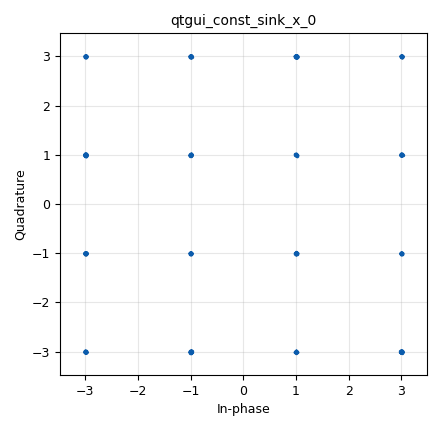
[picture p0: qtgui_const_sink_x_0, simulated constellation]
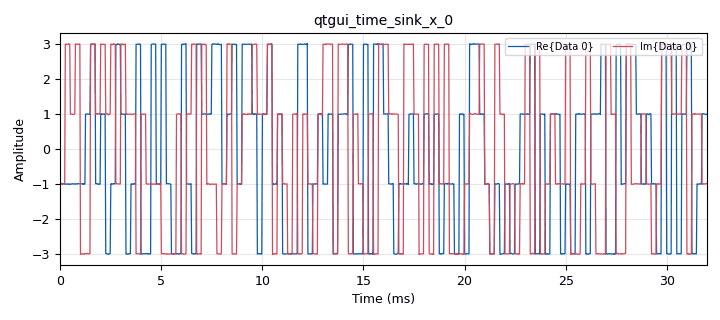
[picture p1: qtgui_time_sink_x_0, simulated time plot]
options:
  parameters:
    author: Hemachandra
    generate_options: qt_gui
    id: adpative_modulation
    output_language: python
  states: {}

blocks:
- name: QAM16
  id: variable
  parameters:
    value: '[-1-1j, +1-1j, 1+1j,-1+1j,1+3j, 3+1j, 3+3j, -1+3j, -3+1j, -3+3j, 3-1j, 1-3j, 3-3j, -3-1j, -1-3j, -3-3j]'
  states: {}
- name: bpsk
  id: variable
  parameters:
    value: '[-1+0j,1+0j]'
  states: {}
- name: bpsk_demod
  id: variable_constellation
  parameters:
    precision: '8'
    type: bpsk
  states: {}
- name: cfo
  id: variable_qtgui_range
  parameters:
    label: Carrier Frequency Offset (Hz)
    start: '0'
    step: '10'
    stop: 100e3
    value: '0.0'
  states: {}
- name: constellation
  id: variable
  parameters:
    value: int(0 if snr <= 10 else (1 if snr <= 20 else 2))
  states: {}
- name: distance
  id: variable_qtgui_range
  parameters:
    label: Distance
    rangeType: int
    start: '1'
    step: '1'
    stop: '50'
    value: '1'
  states: {}
- name: noise
  id: variable
  parameters:
    value: '0.01'
  states: {}
- name: qam_demod
  id: variable_constellation
  parameters:
    precision: '8'
    type: 16qam
  states: {}
- name: qpsk
  id: variable
  parameters:
    value: '[-1-1j, +1-1j, 1+1j,-1+1j]'
  states: {}
- name: qpsk_demod
  id: variable_constellation
  parameters:
    precision: '8'
    type: qpsk
  states: {}
- name: rx_gain
  id: variable
  parameters:
    value: 1/(distance**2)
  states: {}
- name: samp_rate
  id: variable
  parameters:
    value: 32e3
  states: {}
- name: snr
  id: variable
  parameters:
    value: (rx_gain**2 / noise**2)
  states: {}
- name: analog_const_source_x_0
  id: analog_const_source_x
  parameters:
    const: rx_gain
    type: complex
  states: {}
- name: analog_noise_source_x_0
  id: analog_noise_source_x
  parameters:
    amp: noise
    noise_type: analog.GR_GAUSSIAN
    seed: '0'
    type: complex
  states: {}
- name: analog_random_source_x_0
  id: analog_random_source_x
  parameters:
    max: '255'
    min: '0'
    num_samps: '1000'
    repeat: 'True'
    type: byte
  states: {}
- name: blocks_add_xx_0
  id: blocks_add_xx
  parameters:
    type: complex
  states: {}
- name: blocks_complex_to_mag_0
  id: blocks_complex_to_mag
  parameters: {}
  states: {}
- name: blocks_complex_to_mag_0_0
  id: blocks_complex_to_mag
  parameters: {}
  states: {}
- name: blocks_complex_to_mag_0_0_0
  id: blocks_complex_to_mag
  parameters: {}
  states: {}
- name: blocks_keep_one_in_n_0
  id: blocks_keep_one_in_n
  parameters:
    type: complex
  states: {}
- name: blocks_keep_one_in_n_0_0
  id: blocks_keep_one_in_n
  parameters:
    type: complex
  states: {}
- name: blocks_keep_one_in_n_0_0_0
  id: blocks_keep_one_in_n
  parameters:
    type: complex
  states: {}
- name: blocks_keep_one_in_n_0_0_0_0
  id: blocks_keep_one_in_n
  parameters:
    type: complex
  states: {}
- name: blocks_keep_one_in_n_0_1
  id: blocks_keep_one_in_n
  parameters:
    type: complex
  states: {}
- name: blocks_keep_one_in_n_0_1_0
  id: blocks_keep_one_in_n
  parameters:
    type: complex
  states: {}
- name: blocks_moving_average_xx_0
  id: blocks_moving_average_xx
  parameters:
    length: '1000'
    max_iter: '4000'
    scale: 1/1000
    type: float
  states: {}
- name: blocks_moving_average_xx_0_0
  id: blocks_moving_average_xx
  parameters:
    length: '1000'
    max_iter: '4000'
    scale: 1/1000
    type: float
  states: {}
- name: blocks_moving_average_xx_0_0_0
  id: blocks_moving_average_xx
  parameters:
    length: '1000'
    max_iter: '4000'
    scale: 1/1000
    type: float
  states: {}
- name: blocks_multiply_xx_0
  id: blocks_multiply_xx
  parameters:
    type: complex
  states: {}
- name: blocks_packed_to_unpacked_xx_0
  id: blocks_packed_to_unpacked_xx
  parameters:
    bits_per_chunk: '1'
    endianness: gr.GR_MSB_FIRST
    type: byte
  states: {}
- name: blocks_packed_to_unpacked_xx_0_0
  id: blocks_packed_to_unpacked_xx
  parameters:
    bits_per_chunk: '2'
    endianness: gr.GR_MSB_FIRST
    type: byte
  states: {}
- name: blocks_packed_to_unpacked_xx_0_0_0
  id: blocks_packed_to_unpacked_xx
  parameters:
    bits_per_chunk: '4'
    endianness: gr.GR_MSB_FIRST
    type: byte
  states: {}
- name: blocks_repeat_0
  id: blocks_repeat
  parameters:
    interp: '8'
    type: complex
  states: {}
- name: blocks_repeat_0_0
  id: blocks_repeat
  parameters:
    interp: '8'
    type: complex
  states: {}
- name: blocks_repeat_0_1
  id: blocks_repeat
  parameters:
    interp: '8'
    type: complex
  states: {}
- name: blocks_selector_0
  id: blocks_selector
  parameters:
    enabled: 'True'
    input_index: constellation
    num_inputs: '3'
    num_outputs: '1'
    output_index: '0'
    type: complex
  states: {}
- name: blocks_sub_xx_0
  id: blocks_sub_xx
  parameters:
    type: complex
  states: {}
- name: blocks_sub_xx_0_0
  id: blocks_sub_xx
  parameters:
    type: complex
  states: {}
- name: blocks_sub_xx_0_0_0
  id: blocks_sub_xx
  parameters:
    type: complex
  states: {}
- name: blocks_throttle_0
  id: blocks_throttle
  parameters:
    samples_per_second: samp_rate
    type: complex
  states: {}
- name: digital_chunks_to_symbols_xx_0
  id: digital_chunks_to_symbols_xx
  parameters:
    dimension: '1'
    in_type: byte
    out_type: complex
    symbol_table: bpsk
  states: {}
- name: digital_chunks_to_symbols_xx_0_0
  id: digital_chunks_to_symbols_xx
  parameters:
    dimension: '1'
    in_type: byte
    out_type: complex
    symbol_table: qpsk
  states: {}
- name: digital_chunks_to_symbols_xx_0_0_0
  id: digital_chunks_to_symbols_xx
  parameters:
    dimension: '1'
    in_type: byte
    out_type: complex
    symbol_table: QAM16
  states: {}
- name: digital_chunks_to_symbols_xx_1
  id: digital_chunks_to_symbols_xx
  parameters:
    dimension: '1'
    in_type: byte
    out_type: complex
    symbol_table: bpsk
  states: {}
- name: digital_chunks_to_symbols_xx_1_0
  id: digital_chunks_to_symbols_xx
  parameters:
    dimension: '1'
    in_type: byte
    out_type: complex
    symbol_table: qpsk
  states: {}
- name: digital_chunks_to_symbols_xx_1_0_0
  id: digital_chunks_to_symbols_xx
  parameters:
    dimension: '1'
    in_type: byte
    out_type: complex
    symbol_table: QAM16
  states: {}
- name: digital_constellation_decoder_cb_0
  id: digital_constellation_decoder_cb
  parameters:
    constellation: bpsk_demod
  states: {}
- name: digital_constellation_decoder_cb_0_0
  id: digital_constellation_decoder_cb
  parameters:
    constellation: qpsk_demod
  states: {}
- name: digital_constellation_decoder_cb_0_0_0
  id: digital_constellation_decoder_cb
  parameters:
    constellation: qam_demod
  states: {}
- name: import_0
  id: import
  parameters:
    imports: import math
  states: {}
- name: qtgui_const_sink_x_0
  id: qtgui_const_sink_x
  parameters:
    autoscale: 'True'
    grid: 'True'
    size: '1024'
    type: complex
  states: {}
- name: qtgui_number_sink_0
  id: qtgui_number_sink
  parameters:
    autoscale: 'True'
    graph_type: qtgui.NUM_GRAPH_HORIZ
    name: '"bpsk"'
    type: float
  states: {}
- name: qtgui_number_sink_0_0
  id: qtgui_number_sink
  parameters:
    autoscale: 'True'
    graph_type: qtgui.NUM_GRAPH_HORIZ
    name: '"qpsk"'
    type: float
  states: {}
- name: qtgui_number_sink_0_0_0
  id: qtgui_number_sink
  parameters:
    autoscale: 'True'
    graph_type: qtgui.NUM_GRAPH_HORIZ
    name: '"QAM16"'
    type: float
  states: {}
- name: qtgui_time_sink_x_0
  id: qtgui_time_sink_x
  parameters:
    autoscale: 'True'
    size: '1024'
    srate: samp_rate
    type: complex
  states: {}
- name: virtual_sink_0
  id: virtual_sink
  parameters:
    stream_id: selector op
  states: {}
- name: virtual_source_0
  id: virtual_source
  parameters:
    stream_id: selector op
  states: {}
- name: virtual_source_0_0
  id: virtual_source
  parameters:
    stream_id: selector op
  states: {}
- name: virtual_source_0_1
  id: virtual_source
  parameters:
    stream_id: selector op
  states: {}
- name: virtual_source_0_2
  id: virtual_source
  parameters:
    stream_id: selector op
  states: {}
- name: virtual_source_0_3
  id: virtual_source
  parameters:
    stream_id: selector op
  states: {}
- name: virtual_source_0_4
  id: virtual_source
  parameters:
    stream_id: selector op
  states: {}

connections:
- [analog_const_source_x_0, '0', blocks_multiply_xx_0, '1']
- [analog_noise_source_x_0, '0', blocks_add_xx_0, '1']
- [analog_random_source_x_0, '0', blocks_packed_to_unpacked_xx_0, '0']
- [analog_random_source_x_0, '0', blocks_packed_to_unpacked_xx_0_0, '0']
- [analog_random_source_x_0, '0', blocks_packed_to_unpacked_xx_0_0_0, '0']
- [blocks_add_xx_0, '0', blocks_multiply_xx_0, '0']
- [blocks_add_xx_0, '0', virtual_sink_0, '0']
- [blocks_complex_to_mag_0, '0', blocks_moving_average_xx_0, '0']
- [blocks_complex_to_mag_0_0, '0', blocks_moving_average_xx_0_0, '0']
- [blocks_complex_to_mag_0_0_0, '0', blocks_moving_average_xx_0_0_0, '0']
- [blocks_keep_one_in_n_0, '0', blocks_sub_xx_0, '0']
- [blocks_keep_one_in_n_0_0, '0', blocks_sub_xx_0, '1']
- [blocks_keep_one_in_n_0_0_0, '0', blocks_sub_xx_0_0, '1']
- [blocks_keep_one_in_n_0_0_0_0, '0', blocks_sub_xx_0_0_0, '1']
- [blocks_keep_one_in_n_0_1, '0', blocks_sub_xx_0_0, '0']
- [blocks_keep_one_in_n_0_1_0, '0', blocks_sub_xx_0_0_0, '0']
- [blocks_moving_average_xx_0, '0', qtgui_number_sink_0, '0']
- [blocks_moving_average_xx_0_0, '0', qtgui_number_sink_0_0, '0']
- [blocks_moving_average_xx_0_0_0, '0', qtgui_number_sink_0_0_0, '0']
- [blocks_multiply_xx_0, '0', blocks_throttle_0, '0']
- [blocks_packed_to_unpacked_xx_0, '0', digital_chunks_to_symbols_xx_0, '0']
- [blocks_packed_to_unpacked_xx_0_0, '0', digital_chunks_to_symbols_xx_0_0, '0']
- [blocks_packed_to_unpacked_xx_0_0_0, '0', digital_chunks_to_symbols_xx_0_0_0, '0']
- [blocks_repeat_0, '0', blocks_selector_0, '0']
- [blocks_repeat_0_0, '0', blocks_selector_0, '2']
- [blocks_repeat_0_1, '0', blocks_selector_0, '1']
- [blocks_selector_0, '0', blocks_add_xx_0, '0']
- [blocks_sub_xx_0, '0', blocks_complex_to_mag_0, '0']
- [blocks_sub_xx_0_0, '0', blocks_complex_to_mag_0_0, '0']
- [blocks_sub_xx_0_0_0, '0', blocks_complex_to_mag_0_0_0, '0']
- [blocks_throttle_0, '0', qtgui_const_sink_x_0, '0']
- [blocks_throttle_0, '0', qtgui_time_sink_x_0, '0']
- [digital_chunks_to_symbols_xx_0, '0', blocks_repeat_0, '0']
- [digital_chunks_to_symbols_xx_0_0, '0', blocks_repeat_0_1, '0']
- [digital_chunks_to_symbols_xx_0_0_0, '0', blocks_repeat_0_0, '0']
- [digital_chunks_to_symbols_xx_1, '0', blocks_keep_one_in_n_0_0, '0']
- [digital_chunks_to_symbols_xx_1_0, '0', blocks_keep_one_in_n_0_0_0, '0']
- [digital_chunks_to_symbols_xx_1_0_0, '0', blocks_keep_one_in_n_0_0_0_0, '0']
- [digital_constellation_decoder_cb_0, '0', digital_chunks_to_symbols_xx_1, '0']
- [digital_constellation_decoder_cb_0_0, '0', digital_chunks_to_symbols_xx_1_0, '0']
- [digital_constellation_decoder_cb_0_0_0, '0', digital_chunks_to_symbols_xx_1_0_0, '0']
- [virtual_source_0, '0', digital_constellation_decoder_cb_0, '0']
- [virtual_source_0_0, '0', blocks_keep_one_in_n_0_1, '0']
- [virtual_source_0_1, '0', digital_constellation_decoder_cb_0_0, '0']
- [virtual_source_0_2, '0', blocks_keep_one_in_n_0_1_0, '0']
- [virtual_source_0_3, '0', digital_constellation_decoder_cb_0_0_0, '0']
- [virtual_source_0_4, '0', blocks_keep_one_in_n_0, '0']

metadata:
  file_format: 1
  grc_version: 3.10.12.0
